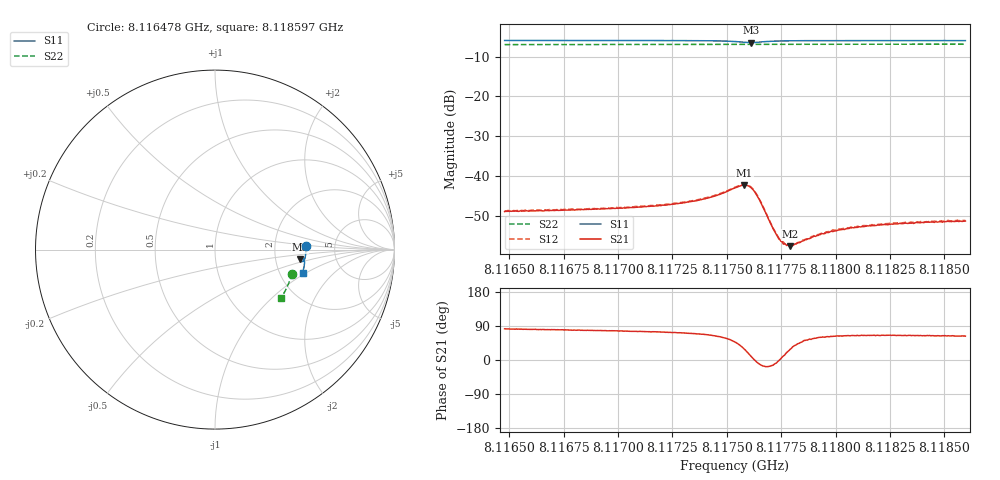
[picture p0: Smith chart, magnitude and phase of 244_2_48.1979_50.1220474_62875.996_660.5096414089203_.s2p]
#  HZ  S  RI  R  50.00
! Rohde & Schwarz Vector Network Analyzer
! Rohde-Schwarz,ZNB20-2Port,1311601062101988,3.16
! Created: UTC 3/20/2024, 11:46:59 AM
! freq[Hz]  re:S11  im:S11  re:S21  im:S21  re:S12  im:S12  re:S22  im:S22
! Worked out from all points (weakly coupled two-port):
!   401 points, 8.116478 GHz to 8.118597 GHz, reference 50 ohm
!   highest |S21| = -42.28 dB at 8.11758 GHz (marker M1); lowest = -57.7 dB at 8.117792 GHz (marker M2)
!   lowest |S11| = -6.4 dB at 8.117612 GHz (marker M3), VSWR 2.82, Z = 138 - j19.5 ohm
!   |S11| at or under -10 dB: nowhere
!   |S22| runs from -6.9 to -6.8 dB; largest |S21 - S12| = 0.00022
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8.116478e9  0.5063 0.0227  0.000481 0.00353  0.000572 0.0036  0.4291 -0.1341
8.116833e9  0.5064 -0.00444  0.000752 0.00372  0.000817 0.00376  0.422 -0.1578
8.1171879e9  0.5042 -0.0327  0.00118 0.00409  0.00123 0.00414  0.4136 -0.1813
8.117331e9  0.502 -0.0454  0.00161 0.00446  0.0017 0.00457  0.4097 -0.1903
8.1173892e9  0.5005 -0.0511  0.00191 0.00475  0.00202 0.00478  0.408 -0.1944
8.1174528e9  0.4973 -0.0576  0.00258 0.00507  0.00268 0.00516  0.4062 -0.1983
8.1175376e9  0.4868 -0.0663  0.00479 0.0052  0.00494 0.00528  0.4034 -0.2039
8.11758e9  0.4768 -0.0638  0.00672 0.00374  0.00688 0.00373  0.4018 -0.2061
8.1175958e9  0.4737 -0.06  0.00715 0.00253  0.00727 0.0025  0.4012 -0.2069
8.1176117e9  0.4733 -0.0547  0.00701 0.00116  0.00715 0.00116  0.4009 -0.2075
8.1176276e9  0.4754 -0.0499  0.00635 -3.29e-06  0.00647 -0.000112  0.4005 -0.2085
8.1176488e9  0.4808 -0.0464  0.00501 -0.000925  0.00506 -0.000976  0.4002 -0.2094
8.1177124e9  0.4936 -0.051  0.00212 -0.000517  0.00215 -0.000535  0.3989 -0.2136
8.1177389e9  0.4959 -0.0547  0.00162 -5.36e-05  0.00166 -6.68e-05  0.3982 -0.2155
8.1177654e9  0.4974 -0.0581  0.00137 0.000307  0.00136 0.000375  0.3976 -0.2172
8.1177919e9  0.4982 -0.0614  0.00115 0.000627  0.00117 0.000653  0.3966 -0.2189
8.1178925e9  0.4987 -0.0722  0.000956 0.00141  0.000978 0.00145  0.3934 -0.2254
8.1179455e9  0.4984 -0.077  0.000926 0.00163  0.000973 0.00168  0.3918 -0.2288
8.118025e9  0.4977 -0.0839  0.000944 0.00189  0.000954 0.00194  0.3892 -0.2336
8.1181468e9  0.496 -0.094  0.000997 0.00214  0.00101 0.00215  0.3849 -0.241
8.1182475e9  0.4946 -0.1019  0.00103 0.00224  0.00108 0.00229  0.3814 -0.2471
8.1185971e9  0.4883 -0.1279  0.00123 0.00241  0.00122 0.0025  0.3684 -0.2681
